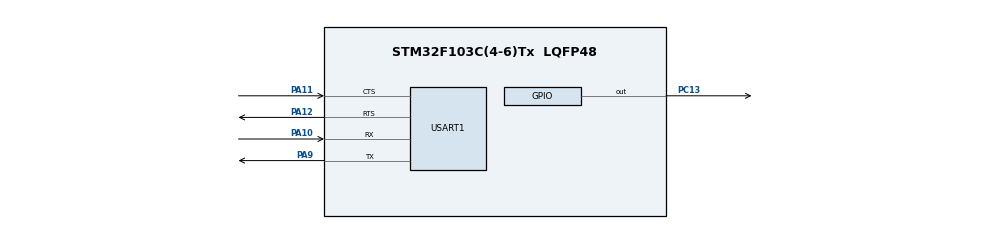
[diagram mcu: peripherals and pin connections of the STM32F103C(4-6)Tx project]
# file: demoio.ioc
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FREERTOS.Tasks01=defaultTask,0,128,StartDefaultTask,Default,NULL,Dynamic,NULL,NULL;myTask02,-3,128,StartTask02,Default,NULL,Dynamic,NULL,NULL
Mcu.Family=STM32F1
Mcu.Name=STM32F103C(4-6)Tx
Mcu.Package=LQFP48
NVIC.PriorityGroup=NVIC_PRIORITYGROUP_4
NVIC.USART1_IRQn=true\:5\:0\:false\:false\:true\:true\:true\:true\:true
PA10.Mode=Asynchronous
PA10.Signal=USART1_RX
PA11.Mode=CTS_RTS
PA11.Signal=USART1_CTS
PA12.Mode=CTS_RTS
PA12.Signal=USART1_RTS
PA9.Mode=Asynchronous
PA9.Signal=USART1_TX
PC13-TAMPER-RTC.Signal=GPIO_Output
ProjectManager.HeapSize=0x200
ProjectManager.StackSize=0x400
ProjectManager.TargetToolchain=Makefile
RCC.APB1Freq_Value=8000000
RCC.APB2Freq_Value=8000000
USART1.VirtualMode=VM_ASYNC
VP_FREERTOS_VS_CMSIS_V1.Mode=CMSIS_V1
VP_SYS_VS_ND.Mode=No_Debug
board=custom

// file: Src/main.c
/* USER CODE BEGIN Header */
/**
 ******************************************************************************
 * @file           : main.c
 * @brief          : Main program body
 ******************************************************************************
 * @attention
 *
 * Copyright (c) 2023 STMicroelectronics.
 * All rights reserved.
 *
 * This software is licensed under terms that can be found in the LICENSE file
 * in the root directory of this software component.
 * If no LICENSE file comes with this software, it is provided AS-IS.
 *
 ******************************************************************************
 */
/* USER CODE END Header */
#include "main.h"
#include "cmsis_os.h"
#include "usart.h"
#include "gpio.h"

/* USER CODE BEGIN PD */
/* Standard includes. */
#include <stdio.h>
#include <stdbool.h>
#include <time.h>

/* Visual studio intrinsics used so the __debugbreak() function is available
 * should an assert get hit. */
#if defined(_WIN32)
#include <intrin.h>
#endif

/* FreeRTOS includes. */
#include <FreeRTOS.h>
#include "task.h"

/* Demo Specific configs. */
// #include "demo_config.h"

/* Use by the pseudo random number generator. */
static UBaseType_t ulNextRand;
/* USER CODE END PD */

/* USER CODE BEGIN PM */
/*-----------------------------------------------------------*/

/* FreeRTOS Cellular Library init and setup cellular network registration. */
extern bool setupCellular(void);

/* MQTT demo application. */
// extern void RunMQTTTask(void *pvParameters);

/* The task function to setup cellular with thread ready environment. */
static void CellularDemoTask(void *pvParameters);

/*-----------------------------------------------------------*/
/* USER CODE END PM */

void SystemClock_Config(void);
void MX_FREERTOS_Init(void);

/* USER CODE BEGIN 0 */
static void CellularDemoTask(void *pvParameters);

/*-----------------------------------------------------------*/

static void CellularDemoTask(void *pvParameters)
{
  bool retCellular = true;

  /* Setup cellular. */
  retCellular = setupCellular();

  if (retCellular == false)
  {
    configPRINTF(("Cellular failed to initialize.\r\n"));
  }

  /* Stop here if we fail to initialize cellular. */
  configASSERT(retCellular == true);

  /* Run the MQTT demo. */
  // RunMQTTTask(pvParameters);
}
/* USER CODE END 0 */

int main(void)
{

  /* MCU Configuration--------------------------------------------------------*/

  /* Reset of all peripherals, Initializes the Flash interface and the Systick. */
  HAL_Init();

  /* Configure the system clock */
  SystemClock_Config();

  /* Initialize all configured peripherals */
  MX_GPIO_Init();
  MX_USART1_UART_Init();

  /* Call init function for freertos objects (in freertos.c) */
  MX_FREERTOS_Init();

  /* Start scheduler */
  osKernelStart();

  /* We should never get here as control is now taken by the scheduler */
  /* Infinite loop */
  while (1)
  {

  }
}

void SystemClock_Config(void)
{
  RCC_OscInitTypeDef RCC_OscInitStruct = {0};
  RCC_ClkInitTypeDef RCC_ClkInitStruct = {0};

  /** Initializes the RCC Oscillators according to the specified parameters
  * in the RCC_OscInitTypeDef structure.
  */
  RCC_OscInitStruct.OscillatorType = RCC_OSCILLATORTYPE_HSI;
  RCC_OscInitStruct.HSIState = RCC_HSI_ON;
  RCC_OscInitStruct.HSICalibrationValue = RCC_HSICALIBRATION_DEFAULT;
  RCC_OscInitStruct.PLL.PLLState = RCC_PLL_NONE;
  if (HAL_RCC_OscConfig(&RCC_OscInitStruct) != HAL_OK)
  {
    Error_Handler();
  }

  /** Initializes the CPU, AHB and APB buses clocks
  */
  RCC_ClkInitStruct.ClockType = RCC_CLOCKTYPE_HCLK|RCC_CLOCKTYPE_SYSCLK
                              |RCC_CLOCKTYPE_PCLK1|RCC_CLOCKTYPE_PCLK2;
  RCC_ClkInitStruct.SYSCLKSource = RCC_SYSCLKSOURCE_HSI;
  RCC_ClkInitStruct.AHBCLKDivider = RCC_SYSCLK_DIV1;
  RCC_ClkInitStruct.APB1CLKDivider = RCC_HCLK_DIV1;
  RCC_ClkInitStruct.APB2CLKDivider = RCC_HCLK_DIV1;

  if (HAL_RCC_ClockConfig(&RCC_ClkInitStruct, FLASH_LATENCY_0) != HAL_OK)
  {
    Error_Handler();
  }
}

void Error_Handler(void)
{
  __disable_irq();
  while (1)
  {
  }
}

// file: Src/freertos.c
/* USER CODE BEGIN Header */
/**
 ******************************************************************************
 * File Name          : freertos.c
 * Description        : Code for freertos applications
 ******************************************************************************
 * @attention
 *
 * Copyright (c) 2023 STMicroelectronics.
 * All rights reserved.
 *
 * This software is licensed under terms that can be found in the LICENSE file
 * in the root directory of this software component.
 * If no LICENSE file comes with this software, it is provided AS-IS.
 *
 ******************************************************************************
 */
/* USER CODE END Header */

#include "FreeRTOS.h"
#include "task.h"
#include "main.h"
#include "cmsis_os.h"

osThreadId defaultTaskHandle;
osThreadId myTask02Handle;

void StartDefaultTask(void const * argument);
void StartTask02(void const * argument);

void MX_FREERTOS_Init(void); /* (MISRA C 2004 rule 8.1) */

/* GetIdleTaskMemory prototype (linked to static allocation support) */
void vApplicationGetIdleTaskMemory( StaticTask_t **ppxIdleTaskTCBBuffer, StackType_t **ppxIdleTaskStackBuffer, uint32_t *pulIdleTaskStackSize );

/* USER CODE BEGIN GET_IDLE_TASK_MEMORY */
static StaticTask_t xIdleTaskTCBBuffer;
static StackType_t xIdleStack[configMINIMAL_STACK_SIZE];

void vApplicationGetIdleTaskMemory(StaticTask_t **ppxIdleTaskTCBBuffer, StackType_t **ppxIdleTaskStackBuffer, uint32_t *pulIdleTaskStackSize)
{
  *ppxIdleTaskTCBBuffer = &xIdleTaskTCBBuffer;
  *ppxIdleTaskStackBuffer = &xIdleStack[0];
  *pulIdleTaskStackSize = configMINIMAL_STACK_SIZE;
  /* place for user code */
}
/* USER CODE END GET_IDLE_TASK_MEMORY */

void MX_FREERTOS_Init(void) {

  /* Create the thread(s) */
  /* definition and creation of defaultTask */
  osThreadDef(defaultTask, StartDefaultTask, osPriorityNormal, 0, 128);
  defaultTaskHandle = osThreadCreate(osThread(defaultTask), NULL);

  /* definition and creation of myTask02 */
  osThreadDef(myTask02, StartTask02, osPriorityIdle, 0, 128);
  myTask02Handle = osThreadCreate(osThread(myTask02), NULL);

}

void StartDefaultTask(void const * argument)
{
  /* USER CODE BEGIN StartDefaultTask */
  /* Infinite loop */
  for (;;)
  {
    osDelay(1000);
  }
  /* USER CODE END StartDefaultTask */
}

void StartTask02(void const * argument)
{
  /* USER CODE BEGIN StartTask02 */
  /* Infinite loop */
  for (;;)
  {
    HAL_GPIO_TogglePin(GPIOC, GPIO_PIN_13);
    osDelay(1000);
  }
  /* USER CODE END StartTask02 */
}
